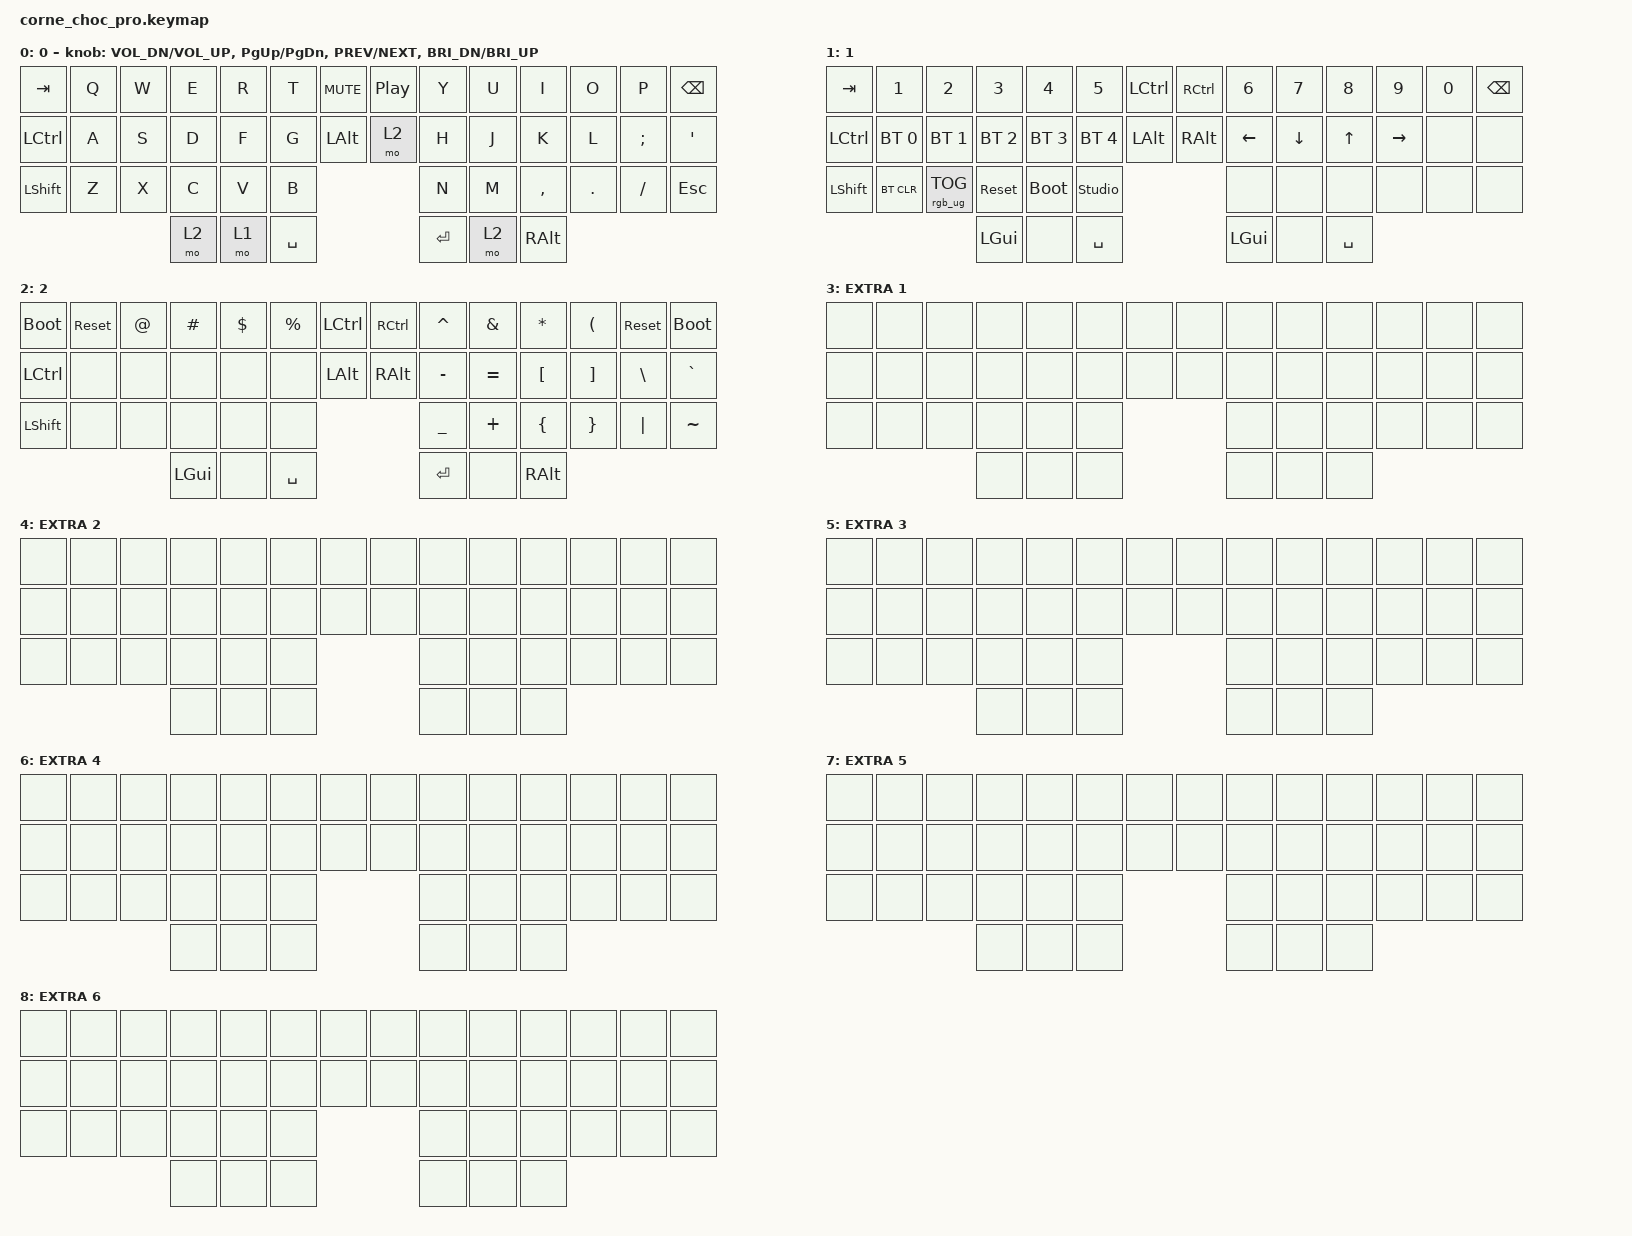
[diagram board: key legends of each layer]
/*
 * Copyright (c) 2020 The ZMK Contributors
 *
 * SPDX-License-Identifier: MIT
 */

#include <behaviors.dtsi>
#include <dt-bindings/zmk/bt.h>
#include <dt-bindings/zmk/keys.h>
#include <dt-bindings/zmk/rgb.h>

/ {
    chosen { zmk,physical-layout = &default_layout; };
};

/ {
    keymap {
        compatible = "zmk,keymap";

        layer0 {
            display-name = "0";

            // --------------------------------------------------------------------------------
            // |  TAB |  Q  |  W  |  E  |  R  |  T  |  MUTE |  PP   |  Y  |  U   |  I  |  O  |  P  | BSPC |
            // | CTRL |  A  |  S  |  D  |  F  |  G  |  LALT |  RALT |  H  |  J   |  K  |  L  |  ;  |  '   |
            // | SHFT |  Z  |  X  |  C  |  V  |  B  |               |  N  |  M   |  ,  |  .  |  /  | ESC  |
            //                    | GUI | LWR | SPC |               | ENT | RSE  | ALT |

            bindings = <
&kp TAB    &kp Q  &kp W  &kp E  &kp R  &kp T      &kp C_MUTE  &kp C_PP  &kp Y    &kp U  &kp I      &kp O    &kp P     &kp BSPC
&kp LCTRL  &kp A  &kp S  &kp D  &kp F  &kp G      &kp LALT    &mo 2     &kp H    &kp J  &kp K      &kp L    &kp SEMI  &kp SQT
&kp LSHFT  &kp Z  &kp X  &kp C  &kp V  &kp B                            &kp N    &kp M  &kp COMMA  &kp DOT  &kp FSLH  &kp ESC
                         &mo 2  &mo 1  &kp SPACE                        &kp RET  &mo 2  &kp RALT
            >;

            sensor-bindings = <&inc_dec_kp C_VOL_DN C_VOL_UP &inc_dec_kp PG_UP PG_DN &inc_dec_kp C_PREV C_NEXT &inc_dec_kp C_BRI_DN C_BRI_UP>;
        };

        layer1 {
            display-name = "1";

            // -----------------------------------------------------------------------------------------
            // |  TAB |  1  |  2  |  3  |  4  |  5    |  LCTRL | RCTRL |  6  |  7  |  8  |  9  |  0  | BSPC |
            // | CTRL | BT1 | BT2 | BT3 | BT4 | BT5   |  LALT  | RALT  | LFT | DWN |  UP | RGT |     |      |
            // | SHFT | BTCR| RGB | RST | BOOT| Unlock|        |       |     |     |     |     |     |      |
            //                    | GUI |     | SPC   |        | ENT   |     | ALT |

            bindings = <
&kp TAB    &kp N1        &kp N2           &kp N3        &kp N4        &kp N5          &kp LCTRL  &kp RCTRL  &kp N6    &kp N7    &kp N8     &kp N9     &kp N0  &kp BSPC
&kp LCTRL  &bt BT_SEL 0  &bt BT_SEL 1     &bt BT_SEL 2  &bt BT_SEL 3  &bt BT_SEL 4    &kp LALT   &kp RALT   &kp LEFT  &kp DOWN  &kp UP     &kp RIGHT  &none  &none
&kp LSHFT  &bt BT_CLR    &rgb_ug RGB_TOG  &sys_reset    &bootloader   &studio_unlock                        &none    &none    &none     &none     &none  &none
                                          &kp LGUI      &none        &kp SPACE                             &kp LGUI  &none    &kp SPACE
            >;
        };

        layer2 {
            display-name = "2";

            // -----------------------------------------------------------------------------------------
            // |  TAB |  !  |  @  |  #  |  $  |  %  | LCTRL | RCTRL |  ^  |  &  |  *  |  (  |  )  | BSPC |
            // | CTRL |     |     |     |     |     |  LALT | RALT  |  -  |  =  |  [  |  ]  |  \  |  `   |
            // | SHFT |     |     |     |     |     |               |  _  |  +  |  {  |  }  | "|" |  ~   |
            //                    | GUI |     | SPC |               | ENT |     | ALT |

            bindings = <
&bootloader  &sys_reset  &kp AT  &kp HASH  &kp DLLR  &kp PRCNT  &kp LCTRL  &kp RCTRL  &kp CARET  &kp AMPS   &kp ASTRK  &kp LPAR  &sys_reset  &bootloader
&kp LCTRL    &none      &none  &none    &none    &none     &kp LALT   &kp RALT   &kp MINUS  &kp EQUAL  &kp LBKT   &kp RBKT  &kp BSLH    &kp GRAVE
&kp LSHFT    &none      &none  &none    &none    &none                           &kp UNDER  &kp PLUS   &kp LBRC   &kp RBRC  &kp PIPE    &kp TILDE
                                 &kp LGUI  &none    &kp SPACE                        &kp RET    &none     &kp RALT
            >;
        };

        extra_layer_1 {
            display-name = "EXTRA 1";
            bindings = <
&none  &none  &none  &none  &none  &none  &none  &none  &none  &none  &none  &none  &none  &none
&none  &none  &none  &none  &none  &none  &none  &none  &none  &none  &none  &none  &none  &none
&none  &none  &none  &none  &none  &none                  &none  &none  &none  &none  &none  &none
                        &none  &none  &none                  &none  &none  &none
            >;
        };

        extra_layer_2 {
            display-name = "EXTRA 2";
            bindings = <
&none  &none  &none  &none  &none  &none  &none  &none  &none  &none  &none  &none  &none  &none
&none  &none  &none  &none  &none  &none  &none  &none  &none  &none  &none  &none  &none  &none
&none  &none  &none  &none  &none  &none                  &none  &none  &none  &none  &none  &none
                        &none  &none  &none                  &none  &none  &none
            >;
        };

        extra_layer_3 {
            display-name = "EXTRA 3";
            bindings = <
&none  &none  &none  &none  &none  &none  &none  &none  &none  &none  &none  &none  &none  &none
&none  &none  &none  &none  &none  &none  &none  &none  &none  &none  &none  &none  &none  &none
&none  &none  &none  &none  &none  &none                  &none  &none  &none  &none  &none  &none
                        &none  &none  &none                  &none  &none  &none
            >;
        };

        extra_layer_4 {
            display-name = "EXTRA 4";
            bindings = <
&none  &none  &none  &none  &none  &none  &none  &none  &none  &none  &none  &none  &none  &none
&none  &none  &none  &none  &none  &none  &none  &none  &none  &none  &none  &none  &none  &none
&none  &none  &none  &none  &none  &none                  &none  &none  &none  &none  &none  &none
                        &none  &none  &none                  &none  &none  &none
            >;
        };

        extra_layer_5 {
            display-name = "EXTRA 5";
            bindings = <
&none  &none  &none  &none  &none  &none  &none  &none  &none  &none  &none  &none  &none  &none
&none  &none  &none  &none  &none  &none  &none  &none  &none  &none  &none  &none  &none  &none
&none  &none  &none  &none  &none  &none                  &none  &none  &none  &none  &none  &none
                        &none  &none  &none                  &none  &none  &none
            >;
        };

        extra_layer_6 {
            display-name = "EXTRA 6";
            bindings = <
&none  &none  &none  &none  &none  &none  &none  &none  &none  &none  &none  &none  &none  &none
&none  &none  &none  &none  &none  &none  &none  &none  &none  &none  &none  &none  &none  &none
&none  &none  &none  &none  &none  &none                  &none  &none  &none  &none  &none  &none
                        &none  &none  &none                  &none  &none  &none
            >;
        };
    };
};

